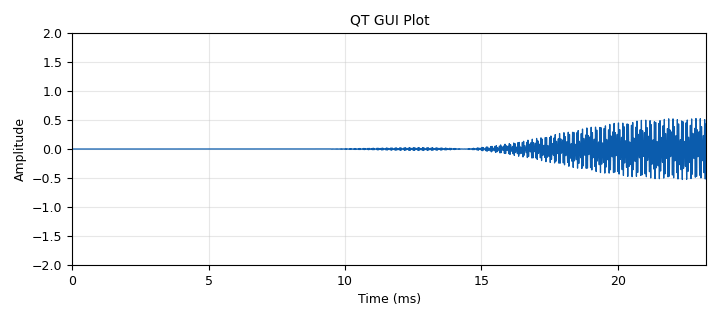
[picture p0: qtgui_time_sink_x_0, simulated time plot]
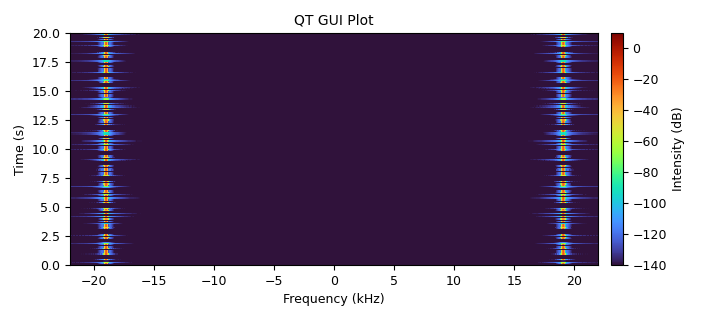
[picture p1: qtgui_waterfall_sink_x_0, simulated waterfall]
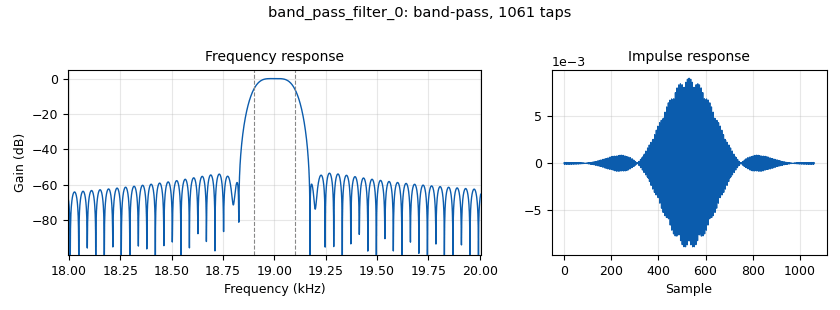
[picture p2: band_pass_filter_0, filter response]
<?xml version='1.0' encoding='utf-8'?>
<?grc format='1' created='3.7.10'?>
<flow_graph>
<block>
<key>options</key>
<param><key>id</key><value>ask_tx</value></param>
<param><key>category</key><value>Custom</value></param>
<param><key>generate_options</key><value>qt_gui</value></param>
</block>
<block>
<key>variable</key>
<param><key>id</key><value>baud_rate</value></param>
<param><key>value</key><value>1/pulse_duration*1000</value></param>
</block>
<block>
<key>variable</key>
<param><key>id</key><value>carrier</value></param>
<param><key>value</key><value>19000</value></param>
</block>
<block>
<key>variable</key>
<param><key>id</key><value>pulse_duration</value></param>
<param><key>value</key><value>69.66</value></param>
</block>
<block>
<key>variable</key>
<param><key>id</key><value>samp_rate</value></param>
<param><key>value</key><value>44000</value></param>
</block>
<block>
<key>analog_sig_source_x</key>
<param><key>id</key><value>analog_sig_source_x_0</value></param>
<param><key>amp</key><value>0.5</value></param>
<param><key>freq</key><value>carrier</value></param>
<param><key>offset</key><value>0</value></param>
<param><key>type</key><value>float</value></param>
<param><key>samp_rate</key><value>samp_rate</value></param>
<param><key>waveform</key><value>analog.GR_COS_WAVE</value></param>
</block>
<block>
<key>audio_sink</key>
<param><key>id</key><value>audio_sink_0</value></param>
<param><key>samp_rate</key><value>samp_rate</value></param>
</block>
<block>
<key>band_pass_filter</key>
<param><key>id</key><value>band_pass_filter_0</value></param>
<param><key>decim</key><value>1</value></param>
<param><key>type</key><value>fir_filter_fff</value></param>
<param><key>gain</key><value>1</value></param>
<param><key>high_cutoff_freq</key><value>carrier + 100</value></param>
<param><key>low_cutoff_freq</key><value>carrier - 100</value></param>
<param><key>samp_rate</key><value>samp_rate</value></param>
<param><key>width</key><value>100</value></param>
<param><key>win</key><value>firdes.WIN_HAMMING</value></param>
</block>
<block>
<key>blocks_copy</key>
<param><key>id</key><value>blocks_copy_0</value></param>
<param><key>enabled</key><value>True</value></param>
<param><key>showports</key><value>True</value></param>
<param><key>type</key><value>float</value></param>
</block>
<block>
<key>blocks_multiply_xx</key>
<param><key>id</key><value>blocks_multiply_xx_0</value></param>
<param><key>type</key><value>float</value></param>
</block>
<block>
<key>blocks_repeat</key>
<param><key>id</key><value>blocks_repeat_0</value></param>
<param><key>interp</key><value>3065</value></param>
<param><key>type</key><value>float</value></param>
</block>
<block>
<key>blocks_vector_source_x</key>
<param><key>id</key><value>blocks_vector_source_x_0</value></param>
<param><key>_enabled</key><value>False</value></param>
<param><key>type</key><value>float</value></param>
<param><key>repeat</key><value>True</value></param>
<param><key>vector</key><value>(0,1,0,1,0,1,0,0,0,0,0,0,1,0,1,1,1,1,0,0,1,1,0,0,1,0,1,0,0,0,0,1)</value></param>
</block>
<block>
<key>blocks_vector_source_x</key>
<param><key>id</key><value>blocks_vector_source_x_0_0</value></param>
<param><key>type</key><value>float</value></param>
<param><key>repeat</key><value>True</value></param>
<param><key>vector</key><value>(0,1,0,1,0,1,0,0,0,0,0,0,1,0,1,1,1,1,0,0,1,1,0,0,1,0,1,0,0,0,0,1)</value></param>
</block>
<block>
<key>qtgui_time_sink_x</key>
<param><key>id</key><value>qtgui_time_sink_x_0</value></param>
<param><key>color1</key><value>"blue"</value></param>
<param><key>label1</key><value></value></param>
<param><key>name</key><value>QT GUI Plot</value></param>
<param><key>size</key><value>1024</value></param>
<param><key>srate</key><value>samp_rate</value></param>
<param><key>type</key><value>float</value></param>
<param><key>ymax</key><value>2</value></param>
<param><key>ymin</key><value>-2</value></param>
</block>
<block>
<key>qtgui_waterfall_sink_x</key>
<param><key>id</key><value>qtgui_waterfall_sink_x_0</value></param>
<param><key>bw</key><value>samp_rate</value></param>
<param><key>fc</key><value>0</value></param>
<param><key>fftsize</key><value>1024</value></param>
<param><key>name</key><value>QT GUI Plot</value></param>
<param><key>showports</key><value>True</value></param>
<param><key>type</key><value>float</value></param>
<param><key>wintype</key><value>firdes.WIN_BLACKMAN_hARRIS</value></param>
</block>
<connection><source_block_id>analog_sig_source_x_0</source_block_id><sink_block_id>blocks_multiply_xx_0</sink_block_id><source_key>0</source_key><sink_key>0</sink_key></connection>
<connection><source_block_id>band_pass_filter_0</source_block_id><sink_block_id>blocks_copy_0</sink_block_id><source_key>0</source_key><sink_key>0</sink_key></connection>
<connection><source_block_id>blocks_copy_0</source_block_id><sink_block_id>audio_sink_0</sink_block_id><source_key>0</source_key><sink_key>0</sink_key></connection>
<connection><source_block_id>blocks_copy_0</source_block_id><sink_block_id>qtgui_time_sink_x_0</sink_block_id><source_key>0</source_key><sink_key>0</sink_key></connection>
<connection><source_block_id>blocks_copy_0</source_block_id><sink_block_id>qtgui_waterfall_sink_x_0</sink_block_id><source_key>0</source_key><sink_key>0</sink_key></connection>
<connection><source_block_id>blocks_multiply_xx_0</source_block_id><sink_block_id>band_pass_filter_0</sink_block_id><source_key>0</source_key><sink_key>0</sink_key></connection>
<connection><source_block_id>blocks_repeat_0</source_block_id><sink_block_id>blocks_multiply_xx_0</sink_block_id><source_key>0</source_key><sink_key>1</sink_key></connection>
<connection><source_block_id>blocks_vector_source_x_0_0</source_block_id><sink_block_id>blocks_repeat_0</sink_block_id><source_key>0</source_key><sink_key>0</sink_key></connection>
</flow_graph>
